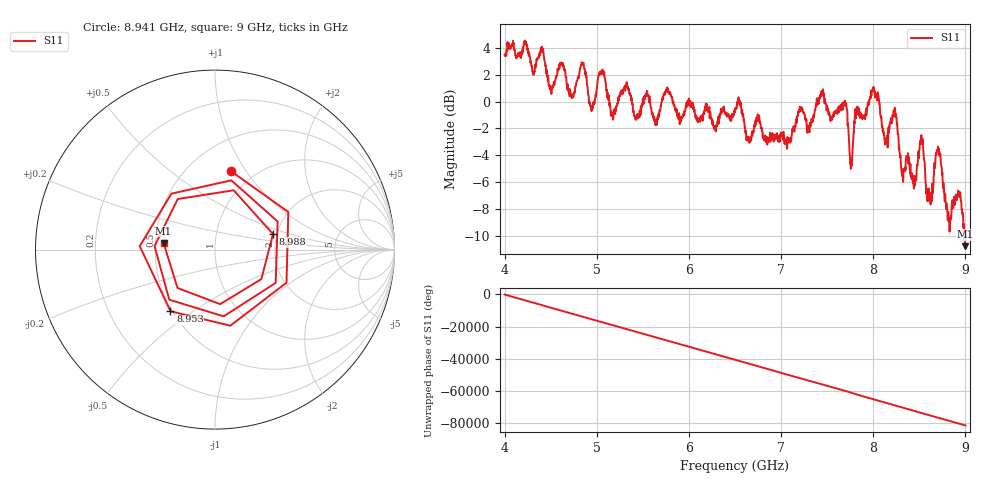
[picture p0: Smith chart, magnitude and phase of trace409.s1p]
! Created with skrf 1.8.0 (http://scikit-rf.org).
# Hz S RI R 50.0
!freq ReS11 ImS11
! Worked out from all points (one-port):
!   1601 points, 4 GHz to 9 GHz, reference 50 ohm
!   lowest |S11| = -10.8 dB at 9 GHz (marker M1), VSWR 1.81, Z = 27.7 + j2.2 ohm
!   |S11| at or under -10 dB: 8.989911 GHz to end of sweep
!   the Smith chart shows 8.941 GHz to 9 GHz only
!   S11 on the Smith chart (normalised r, x): 8.941 GHz: 0.79, +0.86; 8.953 GHz: 0.49, -0.41; 8.988 GHz: 1.91, +0.37; 9 GHz: 0.55, +0.04
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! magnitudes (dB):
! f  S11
! 4 GHz  3.5
! 4.403 GHz  4.0
! 4.503 GHz  0.6
! 4.625 GHz  2.8
! 4.731 GHz  0.3
! 4.85 GHz  2.7
! 4.941 GHz  -0.6
! 5.047 GHz  2.1
! 5.175 GHz  -0.9
! 5.25 GHz  0.5
! 5.875 GHz  -0.9
! 6.5 GHz  -0.8
! 6.65 GHz  -3.0
! 7.125 GHz  -2.2
! 7.444 GHz  0.6
! 7.694 GHz  0.1
! 7.75 GHz  -4.6
! 8 GHz  0.9
! 8.375 GHz  -4.1
! 8.444 GHz  -5.6
! 8.522 GHz  -2.5
! 8.612 GHz  -7.1
! 8.706 GHz  -3.6
! 8.822 GHz  -9.0
! 8.941 GHz  -7.0
! 8.953 GHz  -7.5
! 8.988 GHz  -9.5
! 9 GHz  -10.8
